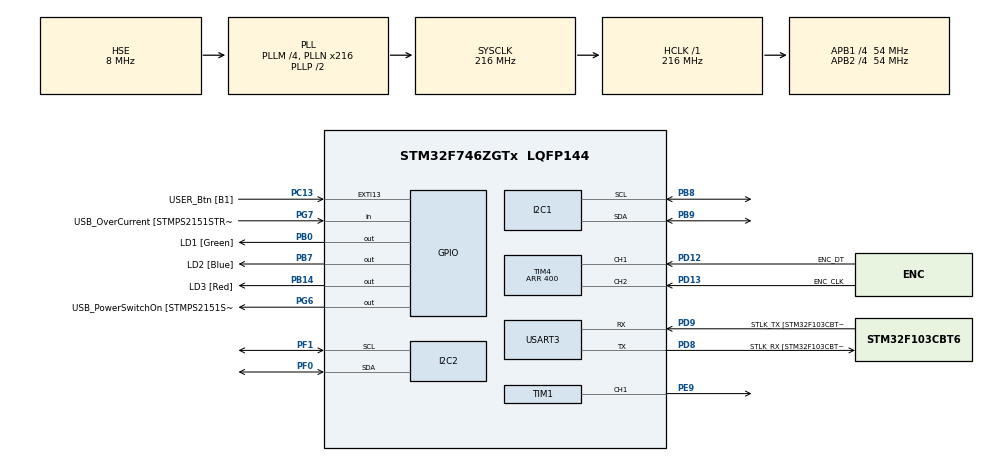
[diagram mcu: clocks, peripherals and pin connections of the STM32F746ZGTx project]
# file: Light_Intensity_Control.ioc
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Dma.I2C1_RX.1.Direction=DMA_PERIPH_TO_MEMORY
Dma.I2C1_RX.1.FIFOMode=DMA_FIFOMODE_DISABLE
Dma.I2C1_RX.1.Instance=DMA1_Stream0
Dma.I2C1_RX.1.MemDataAlignment=DMA_MDATAALIGN_BYTE
Dma.I2C1_RX.1.MemInc=DMA_MINC_ENABLE
Dma.I2C1_RX.1.Mode=DMA_NORMAL
Dma.I2C1_RX.1.PeriphDataAlignment=DMA_PDATAALIGN_BYTE
Dma.I2C1_RX.1.PeriphInc=DMA_PINC_DISABLE
Dma.I2C1_RX.1.Priority=DMA_PRIORITY_LOW
Dma.I2C1_TX.0.Direction=DMA_MEMORY_TO_PERIPH
Dma.I2C1_TX.0.FIFOMode=DMA_FIFOMODE_DISABLE
Dma.I2C1_TX.0.Instance=DMA1_Stream6
Dma.I2C1_TX.0.MemDataAlignment=DMA_MDATAALIGN_BYTE
Dma.I2C1_TX.0.MemInc=DMA_MINC_ENABLE
Dma.I2C1_TX.0.Mode=DMA_NORMAL
Dma.I2C1_TX.0.PeriphDataAlignment=DMA_PDATAALIGN_BYTE
Dma.I2C1_TX.0.PeriphInc=DMA_PINC_DISABLE
Dma.I2C1_TX.0.Priority=DMA_PRIORITY_LOW
Dma.Request0=I2C1_TX
Dma.Request1=I2C1_RX
Dma.Request2=TIM1_CH1
Dma.TIM1_CH1.2.Direction=DMA_MEMORY_TO_PERIPH
Dma.TIM1_CH1.2.FIFOMode=DMA_FIFOMODE_DISABLE
Dma.TIM1_CH1.2.Instance=DMA2_Stream1
Dma.TIM1_CH1.2.MemDataAlignment=DMA_MDATAALIGN_HALFWORD
Dma.TIM1_CH1.2.MemInc=DMA_MINC_ENABLE
Dma.TIM1_CH1.2.Mode=DMA_NORMAL
Dma.TIM1_CH1.2.PeriphDataAlignment=DMA_PDATAALIGN_HALFWORD
Dma.TIM1_CH1.2.PeriphInc=DMA_PINC_DISABLE
Dma.TIM1_CH1.2.Priority=DMA_PRIORITY_LOW
I2C1.Timing=0x20404768
I2C2.Timing=0x20404768
Mcu.Family=STM32F7
Mcu.Name=STM32F746ZGTx
Mcu.Package=LQFP144
NVIC.DMA1_Stream0_IRQn=true\:0\:0\:false\:false\:true\:false\:true\:true
NVIC.DMA1_Stream6_IRQn=true\:0\:0\:false\:false\:true\:false\:true\:true
NVIC.DMA2_Stream1_IRQn=true\:0\:0\:false\:false\:true\:false\:true\:true
NVIC.I2C1_ER_IRQn=true\:0\:0\:false\:false\:true\:true\:true\:true
NVIC.I2C1_EV_IRQn=true\:0\:0\:false\:false\:true\:true\:true\:true
NVIC.PriorityGroup=NVIC_PRIORITYGROUP_4
NVIC.TIM6_DAC_IRQn=true\:0\:0\:false\:false\:true\:true\:true\:true
NVIC.USART3_IRQn=true\:0\:0\:false\:false\:true\:true\:true\:true
PA1.GPIO_Label=RMII_REF_CLK [LAN8742A-CZ-TR_REFCLK0]
PA1.Signal=ETH_REF_CLK
PA10.GPIO_Label=USB_ID
PA10.Signal=USB_OTG_FS_ID
PA11.GPIO_Label=USB_DM
PA11.Signal=USB_OTG_FS_DM
PA12.GPIO_Label=USB_DP
PA12.Signal=USB_OTG_FS_DP
PA13.GPIO_Label=TMS
PA13.Mode=Serial_Wire
PA13.Signal=SYS_JTMS-SWDIO
PA14.GPIO_Label=TCK
PA14.Mode=Serial_Wire
PA14.Signal=SYS_JTCK-SWCLK
PA2.GPIO_Label=RMII_MDIO [LAN8742A-CZ-TR_MDIO]
PA2.Signal=ETH_MDIO
PA7.GPIO_Label=RMII_CRS_DV [LAN8742A-CZ-TR_CRS_DV]
PA7.Signal=ETH_CRS_DV
PA8.GPIO_Label=USB_SOF [TP1]
PA8.Signal=USB_OTG_FS_SOF
PA9.GPIO_Label=USB_VBUS
PA9.Signal=USB_OTG_FS_VBUS
PB0.GPIO_Label=LD1 [Green]
PB0.Signal=GPIO_Output
PB13.GPIO_Label=RMII_TXD1 [LAN8742A-CZ-TR_TXD1]
PB13.Signal=ETH_TXD1
PB14.GPIO_Label=LD3 [Red]
PB14.Signal=GPIO_Output
PB3.GPIO_Label=SW0
PB3.Signal=SYS_JTDO-SWO
PB7.GPIO_Label=LD2 [Blue]
PB7.Signal=GPIO_Output
PB8.Mode=I2C
PB8.Signal=I2C1_SCL
PB9.Mode=I2C
PB9.Signal=I2C1_SDA
PC1.GPIO_Label=RMII_MDC [LAN8742A-CZ-TR_MDC]
PC1.Signal=ETH_MDC
PC13.GPIO_Label=USER_Btn [B1]
PC13.Signal=GPXTI13
PC14/OSC32_IN.Mode=LSE-External-Oscillator
PC14/OSC32_IN.Signal=RCC_OSC32_IN
PC15/OSC32_OUT.Mode=LSE-External-Oscillator
PC15/OSC32_OUT.Signal=RCC_OSC32_OUT
PC4.GPIO_Label=RMII_RXD0 [LAN8742A-CZ-TR_RXD0]
PC4.Signal=ETH_RXD0
PC5.GPIO_Label=RMII_RXD1 [LAN8742A-CZ-TR_RXD1]
PC5.Signal=ETH_RXD1
PD12.GPIO_Label=ENC_DT
PD12.Signal=S_TIM4_CH1
PD13.GPIO_Label=ENC_CLK
PD13.GPIO_Speed=GPIO_SPEED_FREQ_LOW
PD13.Signal=S_TIM4_CH2
PD8.GPIO_Label=STLK_RX [STM32F103CBT6_PA3]
PD8.GPIO_PuPd=GPIO_PULLUP
PD8.Mode=Asynchronous
PD8.Signal=USART3_TX
PD9.GPIO_Label=STLK_TX [STM32F103CBT6_PA2]
PD9.GPIO_PuPd=GPIO_PULLUP
PD9.Mode=Asynchronous
PD9.Signal=USART3_RX
PE9.Signal=S_TIM1_CH1
PF0.Mode=I2C
PF0.Signal=I2C2_SDA
PF1.Mode=I2C
PF1.Signal=I2C2_SCL
PG11.GPIO_Label=RMII_TX_EN [LAN8742A-CZ-TR_TXEN]
PG11.Signal=ETH_TX_EN
PG13.GPIO_Label=RMII_TXD0 [LAN8742A-CZ-TR_TXD0]
PG13.Signal=ETH_TXD0
PG6.GPIO_Label=USB_PowerSwitchOn [STMPS2151STR_EN]
PG6.Signal=GPIO_Output
PG7.GPIO_Label=USB_OverCurrent [STMPS2151STR_FAULT]
PG7.Signal=GPIO_Input
PH0/OSC_IN.GPIO_Label=MCO [STM32F103CBT6_PA8]
PH0/OSC_IN.Mode=HSE-External-Clock-Source
PH0/OSC_IN.Signal=RCC_OSC_IN
PH1/OSC_OUT.Mode=HSE-External-Clock-Source
PH1/OSC_OUT.Signal=RCC_OSC_OUT
ProjectManager.HeapSize=0x200
ProjectManager.StackSize=0x400
ProjectManager.TargetToolchain=STM32CubeIDE
RCC.48MHZClocksFreq_Value=24000000
RCC.AHBFreq_Value=216000000
RCC.APB1CLKDivider=RCC_HCLK_DIV4
RCC.APB1Freq_Value=54000000
RCC.APB1TimFreq_Value=108000000
RCC.APB2CLKDivider=RCC_HCLK_DIV4
RCC.APB2Freq_Value=54000000
RCC.APB2TimFreq_Value=108000000
RCC.CortexFreq_Value=216000000
RCC.HCLKFreq_Value=216000000
RCC.HSE_VALUE=8000000
RCC.HSI_VALUE=16000000
RCC.PLLM=4
RCC.PLLMUL=RCC_PLL_MUL9
RCC.PLLN=216
RCC.PLLQ=3
RCC.PLLSourceVirtual=RCC_PLLSOURCE_HSE
RCC.PRESCALERUSB=RCC_USBCLKSOURCE_PLL_DIV1_5
RCC.SYSCLKFreq_VALUE=216000000
RCC.SYSCLKSource=RCC_SYSCLKSOURCE_PLLCLK
RCC.SYSCLKSourceVirtual=RCC_SYSCLKSOURCE_PLLCLK
RCC.USBFreq_Value=144000000
RCC.VCOOutputFreq_Value=432000000
SH.S_TIM1_CH1.0=TIM1_CH1,PWM Generation1 CH1
SH.S_TIM4_CH1.0=TIM4_CH1,Encoder_Interface
SH.S_TIM4_CH2.0=TIM4_CH2,Encoder_Interface
TIM1.Channel-PWM\ Generation1\ CH1=TIM_CHANNEL_1
TIM1.Period=134
TIM4.EncoderMode=TIM_ENCODERMODE_TI12
TIM4.Period=400
TIM6.Period=4999
TIM6.Prescaler=21599
TIM7.Prescaler=107
USART3.VirtualMode-Asynchronous=VM_ASYNC
VP_TIM1_VS_ClockSourceINT.Mode=Internal
VP_TIM6_VS_ClockSourceINT.Mode=Enable_Timer
VP_TIM7_VS_ClockSourceINT.Mode=Enable_Timer
board=NUCLEO-F746ZG

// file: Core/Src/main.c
/* USER CODE BEGIN Header */
/**
  ******************************************************************************
  * @file           : main.c
  * @brief          : Main program body
  ******************************************************************************
  * @attention
  *
  * Copyright (c) 2023 STMicroelectronics.
  * All rights reserved.
  *
  * This software is licensed under terms that can be found in the LICENSE file
  * in the root directory of this software component.
  * If no LICENSE file comes with this software, it is provided AS-IS.
  *
  ******************************************************************************
  */
/* USER CODE END Header */
#include "main.h"
#include "dma.h"
#include "i2c.h"
#include "tim.h"
#include "usart.h"
#include "gpio.h"

/* USER CODE BEGIN Includes */
#include "lcd_config.h"
#include "encoder_config.h"
#include "bh1750_config.h"
#include "WS2812.h"

//#include "lcd_hd44780_i2c.h"
/* USER CODE END Includes */

/* USER CODE BEGIN PV */
unsigned char character;
char text[LCD_LINE_BUF_LEN];
unsigned int i = 0;

// For UART
uint8_t tx_buffer[100];
uint8_t rx_buffer[100];
#define rxt_msg_len 7

// initial values for encoder, etc
uint32_t encoder_val = 0;
#define ENC_STEP 50
uint32_t set_point = 0;
uint32_t sensor_val = 0;
float Illuminance_lux = 0.0f;
unsigned int Illuminance_lux_Int = 0;

// control signal and flag
uint16_t brightness_level = 0;
uint16_t hal_delay_val = 100;

/* USER CODE END PV */

void SystemClock_Config(void);

/* USER CODE BEGIN 0 */

// Function to check if 'value' is within the range [lowerBound, upperBound]
int isWithinRange(int value, int lowerBound, int upperBound) {
    return (value >= lowerBound && value <= upperBound);
}

/**
  * @brief  Pulse Finished callback in DMA mode
  * @param  htim TIM handle
  * @retval None
  */
void HAL_TIM_PWM_PulseFinishedCallback(TIM_HandleTypeDef *htim)
{
  HAL_TIM_PWM_Stop_DMA(&htim1, TIM_CHANNEL_1);
  datasentflag=1;
}

/**
  * @brief  Period elapsed callback in non-blocking mode
  * @param  htim TIM handle
  * @retval None
  */
void HAL_TIM_PeriodElapsedCallback(TIM_HandleTypeDef *htim)
{
  if(htim == &htim6)
  {
    encoder_val = ENC_GetCounter(&henc1);
    set_point = encoder_val * ENC_STEP;
    LCD_I2C_SetCursor(&hlcd3, 0, 6);
    LCD_I2C_printStr(&hlcd3, "       lux");
    LCD_I2C_SetCursor(&hlcd3, 0, 6);
    LCD_I2C_printDecInt(&hlcd3, set_point);

    Illuminance_lux = BH1750_ReadIlluminance_lux(&hbh1750);
    Illuminance_lux_Int = Illuminance_lux * 1000.0f;

//    int tx_msg_len = sprintf((char*)tx_buffer, "%05u.%03u\r", Illuminance_lux_Int / 1000, Illuminance_lux_Int % 1000);
    sensor_val = (uint32_t)Illuminance_lux;
    LCD_I2C_SetCursor(&hlcd3, 1, 6);
    LCD_I2C_printStr(&hlcd3, "       lux");
    LCD_I2C_SetCursor(&hlcd3, 1, 6);
    LCD_I2C_printDecInt(&hlcd3, sensor_val);

    int tx_msg_len = sprintf((char*)tx_buffer, "REF: %*lu lux  :  MSR: %*lu lux  :  CON: %*u [/255]\n\r", 4, set_point, 4, sensor_val, 3, brightness_level);
    HAL_UART_Transmit(&huart3, tx_buffer, tx_msg_len, 100);
  }
}

/**
  * @brief  Rx Transfer completed callback.
  * @param  huart UART handle.
  * @retval None
  */
void HAL_UART_RxCpltCallback(UART_HandleTypeDef *huart)
{
  sscanf((char*)rx_buffer, "ENC%lu", &set_point);
  encoder_val = set_point/ENC_STEP; // to maintain the 50 lumen step of reference signal
  ENC_SetCounter(&henc1, encoder_val);

//  memset(rx_buffer, 0, sizeof(rx_buffer));
  HAL_UART_Receive_IT(&huart3, rx_buffer, rxt_msg_len);
}

/* USER CODE END 0 */

int main(void)
{

  /* MCU Configuration--------------------------------------------------------*/

  /* Reset of all peripherals, Initializes the Flash interface and the Systick. */
  HAL_Init();

  /* Configure the system clock */
  SystemClock_Config();

  /* Initialize all configured peripherals */
  MX_GPIO_Init();
  MX_DMA_Init();
  MX_TIM7_Init();
  MX_I2C1_Init();
  MX_USART3_UART_Init();
  MX_TIM4_Init();
  MX_TIM6_Init();
  MX_I2C2_Init();
  MX_TIM1_Init();
  /* USER CODE BEGIN 2 */

  // Initialize Encoder
  ENC_Init(&henc1);
  HAL_TIM_Base_Start_IT(&htim6); // timer to send rotary encoder updates to LCD and maybe not just encoder but also sensor

  // Initialize LCD
  LCD_I2C_Init(&hlcd3);
  LCD_I2C_printStr(&hlcd3, " REF:");
  LCD_I2C_SetCursor(&hlcd3, 1, 0);
  LCD_I2C_printStr(&hlcd3, " MSR:");
  LCD_I2C_SetCursor(&hlcd3, 0, 6);
  LCD_I2C_printStr(&hlcd3, ">");
  LCD_I2C_SetCursor(&hlcd3, 1, 6);
  LCD_I2C_printStr(&hlcd3, ">");

  // Initialize BH1750
  BH1750_Init(&hbh1750);

  // Initialize 2 LEDs with some color
  Set_LED(0, 255, 255, 255);
  Set_LED(1, 255, 255, 255);

  Set_Brightness(255);
  WS2812_Send();

//  HAL_UART_Receive_IT(&huart3, &character, 1);
  HAL_UART_Receive_IT(&huart3, tx_buffer, rxt_msg_len);

  /* USER CODE END 2 */

  /* Infinite loop */
  /* USER CODE BEGIN WHILE */
  while (1)
  {

	// Check closeness of measurement and reference signals
    if(isWithinRange(sensor_val, set_point-50, set_point+50))
    {
      hal_delay_val = 1000;
    } else
    {
      hal_delay_val = 100;
    }

    // Control signal updated based on sign of error (ON-OFF Control, Two Position)
    if(sensor_val != set_point && sensor_val < set_point)
    {
      brightness_level = brightness_level + 1;
      if(brightness_level > 255) brightness_level = 255;
      else if(brightness_level < 0) brightness_level = 0;
      Set_Brightness(brightness_level);
      WS2812_Send();
      HAL_Delay (hal_delay_val);
    }
    else if (sensor_val != set_point && sensor_val > set_point)
    {
      brightness_level = brightness_level - 1;
      if(brightness_level > 255) brightness_level = 255;
      else if(brightness_level < 0) brightness_level = 0;
      Set_Brightness(brightness_level);
      WS2812_Send();
      HAL_Delay (hal_delay_val);
    }

    /* USER CODE END WHILE */

  }
}

void SystemClock_Config(void)
{
  RCC_OscInitTypeDef RCC_OscInitStruct = {0};
  RCC_ClkInitTypeDef RCC_ClkInitStruct = {0};

  /** Configure LSE Drive Capability
  */
  HAL_PWR_EnableBkUpAccess();

  /** Configure the main internal regulator output voltage
  */
  __HAL_RCC_PWR_CLK_ENABLE();
  __HAL_PWR_VOLTAGESCALING_CONFIG(PWR_REGULATOR_VOLTAGE_SCALE1);

  /** Initializes the RCC Oscillators according to the specified parameters
  * in the RCC_OscInitTypeDef structure.
  */
  RCC_OscInitStruct.OscillatorType = RCC_OSCILLATORTYPE_HSE;
  RCC_OscInitStruct.HSEState = RCC_HSE_BYPASS;
  RCC_OscInitStruct.PLL.PLLState = RCC_PLL_ON;
  RCC_OscInitStruct.PLL.PLLSource = RCC_PLLSOURCE_HSE;
  RCC_OscInitStruct.PLL.PLLM = 4;
  RCC_OscInitStruct.PLL.PLLN = 216;
  RCC_OscInitStruct.PLL.PLLP = RCC_PLLP_DIV2;
  RCC_OscInitStruct.PLL.PLLQ = 3;
  if (HAL_RCC_OscConfig(&RCC_OscInitStruct) != HAL_OK)
  {
    Error_Handler();
  }

  /** Activate the Over-Drive mode
  */
  if (HAL_PWREx_EnableOverDrive() != HAL_OK)
  {
    Error_Handler();
  }

  /** Initializes the CPU, AHB and APB buses clocks
  */
  RCC_ClkInitStruct.ClockType = RCC_CLOCKTYPE_HCLK|RCC_CLOCKTYPE_SYSCLK
                              |RCC_CLOCKTYPE_PCLK1|RCC_CLOCKTYPE_PCLK2;
  RCC_ClkInitStruct.SYSCLKSource = RCC_SYSCLKSOURCE_PLLCLK;
  RCC_ClkInitStruct.AHBCLKDivider = RCC_SYSCLK_DIV1;
  RCC_ClkInitStruct.APB1CLKDivider = RCC_HCLK_DIV4;
  RCC_ClkInitStruct.APB2CLKDivider = RCC_HCLK_DIV4;

  if (HAL_RCC_ClockConfig(&RCC_ClkInitStruct, FLASH_LATENCY_7) != HAL_OK)
  {
    Error_Handler();
  }
}

void Error_Handler(void)
{
  __disable_irq();
  while (1)
  {
  }
}
